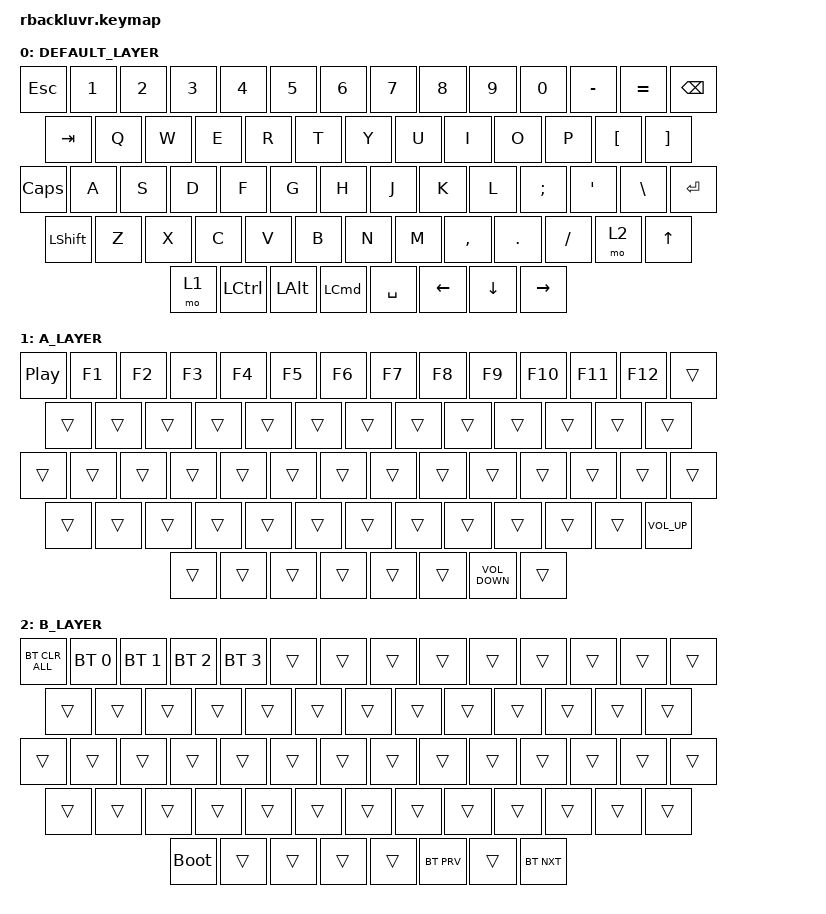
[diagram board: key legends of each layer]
#include <behaviors.dtsi>
#include <dt-bindings/zmk/bt.h>
#include <dt-bindings/zmk/keys.h>

#define DEFAULT_LAYER   0
#define A_LAYER   1
#define B_LAYER   2

/ {
    keymap {
        compatible = "zmk,keymap";

        DEFAULT_LAYER {
            bindings = <
&kp ESC     &kp N1     &kp N2     &kp N3     &kp N4     &kp N5     &kp N6     &kp N7     &kp N8     &kp N9     &kp N0     &kp MINUS     &kp EQUAL     &kp BACKSPACE
&kp TAB     &kp Q     &kp W     &kp E     &kp R     &kp T     &kp Y     &kp U     &kp I     &kp O     &kp P     &kp LEFT_BRACKET     &kp RIGHT_BRACKET
&kp CAPS    &kp A     &kp S     &kp D     &kp F     &kp G     &kp H     &kp J     &kp K     &kp L     &kp SEMICOLON     &kp SINGLE_QUOTE     &kp BACKSLASH    &kp RET
&kp LSHIFT     &kp Z     &kp X     &kp C     &kp V     &kp B     &kp N     &kp M     &kp COMMA     &kp PERIOD     &kp SLASH     &mo 2     &kp UP_ARROW
                   &mo 1     &kp LCTRL     &kp LALT     &kp LEFT_COMMAND     &kp SPACE      &kp LEFT_ARROW     &kp DOWN_ARROW     &kp RIGHT_ARROW
            >;
        };

        A_LAYER {
            bindings = <
&kp C_PLAY_PAUSE     &kp F1     &kp F2     &kp F3     &kp F4     &kp F5     &kp F6     &kp F7     &kp F8     &kp F9     &kp F10     &kp F11     &kp F12     &trans
&trans     &trans     &trans     &trans     &trans     &trans     &trans     &trans     &trans     &trans     &trans      &trans     &trans
&trans     &trans     &trans     &trans     &trans     &trans     &trans     &trans     &trans     &trans     &trans     &trans     &trans     &trans
&trans     &trans     &trans     &trans     &trans     &trans     &trans     &trans     &trans     &trans     &trans     &trans     &kp C_VOLUME_UP
                   &trans     &trans     &trans     &trans        &trans        &trans       &kp C_VOLUME_DOWN     &trans
            >;
        };

        B_LAYER {
            bindings = <
&bt BT_CLR_ALL     &bt BT_SEL 0     &bt BT_SEL 1     &bt BT_SEL 2     &bt BT_SEL 3     &trans     &trans     &trans     &trans     &trans     &trans     &trans     &trans     &trans
&trans     &trans     &trans     &trans     &trans     &trans     &trans     &trans     &trans     &trans     &trans      &trans     &trans
&trans     &trans     &trans     &trans     &trans     &trans     &trans     &trans     &trans     &trans     &trans     &trans     &trans     &trans
&trans     &trans     &trans     &trans     &trans     &trans     &trans     &trans     &trans     &trans     &trans     &trans     &trans
                   &bootloader     &trans     &trans     &trans        &trans       &bt BT_PRV       &trans     &bt BT_NXT
            >;
        };

    };
};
